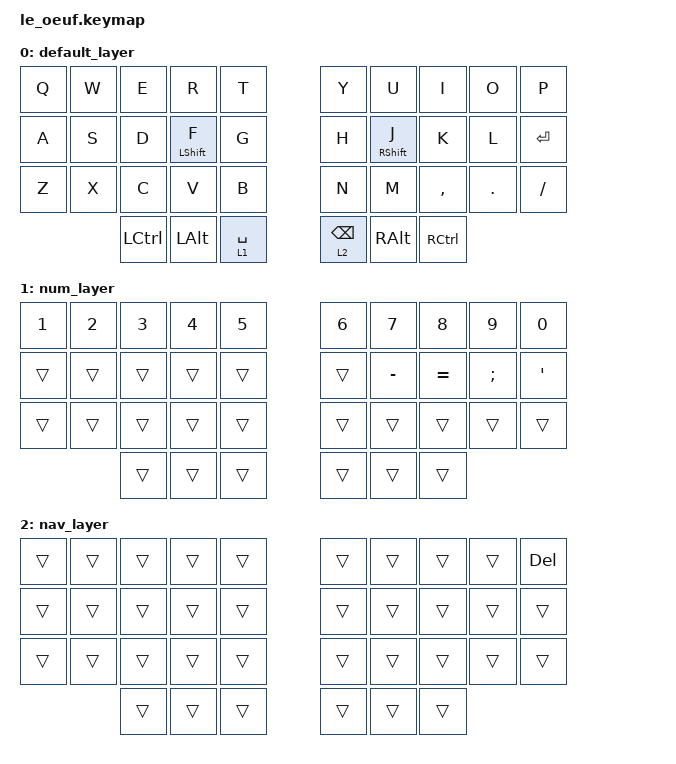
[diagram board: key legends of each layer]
/*
 * Copyright (c) 2024 Travis Mick
 *
 * SPDX-License-Identifier: MIT
 */

#include <behaviors.dtsi>
#include <dt-bindings/zmk/keys.h>
#include <dt-bindings/zmk/bt.h>
#include <dt-bindings/zmk/outputs.h>

&mt {
    flavor = "balanced";
    tapping-term-ms = <200>;
};

&lt {
    flavor = "balanced";
    tapping-term-ms = <200>;
};

/ {
    keymap {
        compatible = "zmk,keymap";

        default_layer {
            bindings = <
                      &kp Q          &kp W        &kp E         &kp R         &kp T                       &kp Y        &kp U         &kp I         &kp O          &kp P   
                      &kp A          &kp S        &kp D         &mt LSHFT F   &kp G                       &kp H        &mt RSHFT J   &kp K         &kp L          &kp RET
                      &kp Z          &kp X        &kp C         &kp V         &kp B                       &kp N        &kp M         &kp COMMA     &kp DOT        &kp FSLH
                                                  &kp LCTRL     &kp LALT      &lt 1 SPACE                 &lt 2 BSPC   &kp RALT      &kp RCTRL
            >;
        };

        num_layer {
            bindings = <
                      &kp N1         &kp N2       &kp N3        &kp N4        &kp N5                      &kp N6       &kp N7        &kp N8        &kp N9         &kp N0   
                      &trans         &trans       &trans        &trans        &trans                      &trans       &kp MINUS     &kp EQUAL     &kp SEMI       &kp APOS
                      &trans         &trans       &trans        &trans        &trans                      &trans       &trans        &trans        &trans         &trans
                                                  &trans        &trans        &trans                      &trans       &trans        &trans
            >;
        };

        nav_layer {
            bindings = <
                      &trans         &trans       &trans        &trans        &trans                      &trans       &trans       &trans        &trans         &kp DEL
                      &trans         &trans       &trans        &trans        &trans                      &trans       &trans       &trans        &trans         &trans
                      &trans         &trans       &trans        &trans        &trans                      &trans       &trans       &trans        &trans         &trans
                                                  &trans        &trans        &trans                      &trans       &trans       &trans
            >;
        };

    };
};
